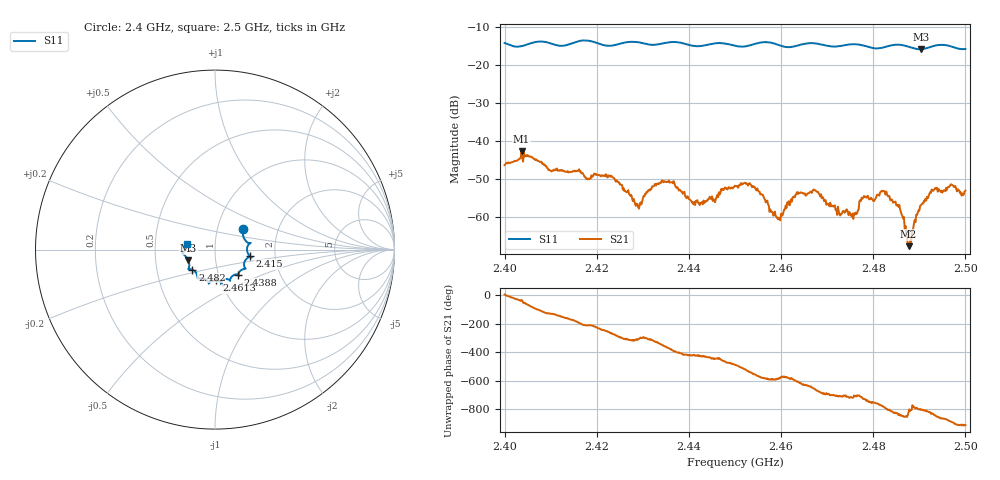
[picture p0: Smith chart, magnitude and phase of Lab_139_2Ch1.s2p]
# Hz S RI R 50
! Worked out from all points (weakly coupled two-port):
!   601 points, 2.4 GHz to 2.5 GHz, reference 50 ohm
!   highest |S21| = -42.56 dB at 2.4037 GHz (marker M1); lowest = -67.6 dB at 2.4877 GHz (marker M2)
!   lowest |S11| = -15.9 dB at 2.4903 GHz (marker M3), VSWR 1.38, Z = 36.8 - j4.45 ohm
!   |S11| at or under -10 dB: start of sweep to end of sweep
!   S12 and S22 are empty: the file has one direction only
!   S11 on the Smith chart (normalised r, x): 2.4 GHz: 1.33, +0.31; 2.415 GHz: 1.47, -0.11; 2.4388 GHz: 1.24, -0.36; 2.4613 GHz: 0.96, -0.34; 2.482 GHz: 0.76, -0.17; 2.5 GHz: 0.72, +0.05
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2.4e9  0.1578 0.1122  0.00483 0.000325  0 0  0 0
2.403667e9  0.169 0.0522  0.00612 -0.00424  0 0  0 0
2.415e9  0.1924 -0.036  -0.00403 -0.000178  0 0  0 0
2.416667e9  0.2036 -0.0438  -0.00347 0.00146  0 0  0 0
2.423333e9  0.1621 -0.0767  7.91e-05 0.00339  0 0  0 0
2.428833e9  0.1686 -0.1059  0.00102 0.00108  0 0  0 0
2.433333e9  0.1323 -0.1315  0.00248 0.00128  0 0  0 0
2.438833e9  0.1297 -0.1408  0.00117 -0.00173  0 0  0 0
2.4425e9  0.0943 -0.1494  0.000637 -0.00141  0 0  0 0
2.45e9  0.0691 -0.1647  -0.00162 -0.00204  0 0  0 0
2.453667e9  0.0357 -0.1805  -0.00248 0.000261  0 0  0 0
2.459333e9  0.0309 -0.1811  -0.000639 0.000692  0 0  0 0
2.461333e9  0.0076 -0.1711  -0.00126 0.000929  0 0  0 0
2.466667e9  -0.0347 -0.1902  0.00064 0.00199  0 0  0 0
2.4755e9  -0.0944 -0.1613  0.00112 3.55e-05  0 0  0 0
2.482e9  -0.126 -0.1117  0.00114 -0.00186  0 0  0 0
2.483333e9  -0.1397 -0.1088  0.000199 -0.00188  0 0  0 0
2.486167e9  -0.1483 -0.1064  -0.000643 -0.000879  0 0  0 0
2.487667e9  -0.1443 -0.0962  -6.08e-05 -0.000414  0 0  0 0
2.490333e9  -0.1493 -0.0589  0.000276 -0.00142  0 0  0 0
2.493167e9  -0.1759 -0.0257  -0.00107 -0.00204  0 0  0 0
2.5e9  -0.1586 0.0326  -0.00221 0.000388  0 0  0 0
